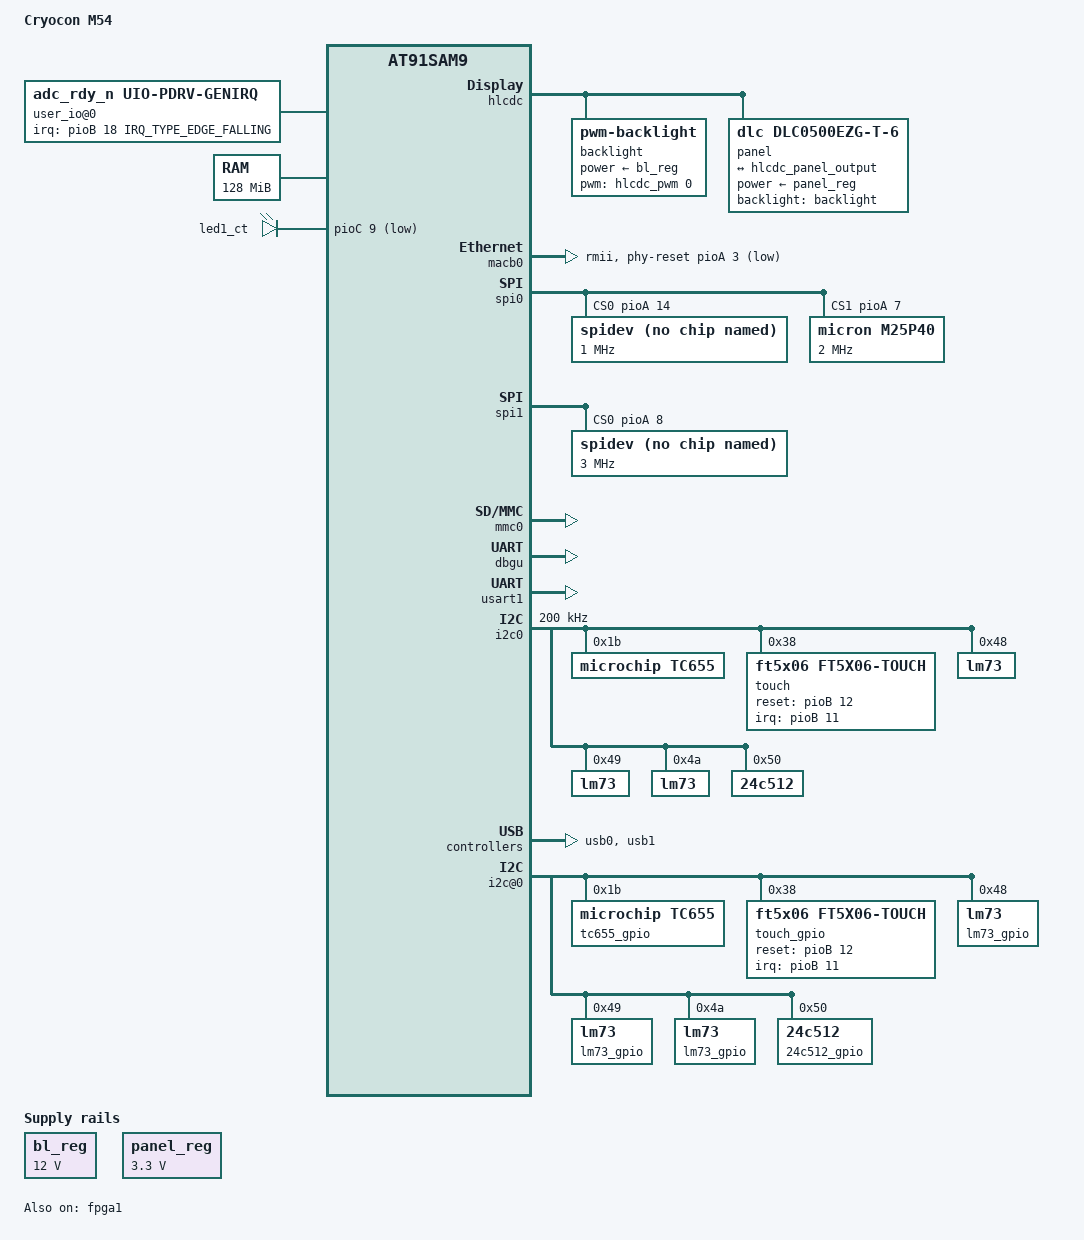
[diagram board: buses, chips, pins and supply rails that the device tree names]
/*
 * m54.dts - Device Tree file for Cryocon M54 cryogenic temperature controller
 *
 *  Copyright (C) 2016 Cryogenic Control Systems, Inc.
 *                2012 Atmel,
 *                2012 Nicolas Ferre <nicolas.ferre@atmel.com>
 *
 * Licensed under GPLv2 or later.
 */
 
/dts-v1/;
#include "at91sam9g35.dtsi"

/ {
	model = "Cryocon M54";
	compatible = "atmel,at91sam9g35ek", "atmel,at91sam9x5ek", "atmel,at91sam9x5", "atmel,at91sam9";

    user_io@0 {
        compatible = "adc_rdy_n,uio-pdrv-genirq";
        status = "okay";
        interrupt-parent = <&pioB>;
        interrupts = <18 IRQ_TYPE_EDGE_FALLING 6>;
        pinctrl-names = "default";
        pinctrl-0 = <&pinctrl_user_io>;
    };

	memory {
		reg = <0x20000000 0x8000000>;
	};

	clocks {
		slow_xtal {
			clock-frequency = <32768>;
		};

		main_xtal {
			clock-frequency = <12000000>;
		};
	};

    aliases {
	serial1 = &usart1;
        spi0 = &spi0;
        spi1 = &spi1;
        fpga0 = &fpga0;
        fpga1 = &fpga1;
    };

	fpga0: xilinx-sscu@0 {
        compatible = "xilinx-sscu";
        status = "disabled";
        pinctrl-names = "default";
        pinctrl-0 = <&pinctrl_board_fpga0>;
        reg = <0x0 0>;
        gpios = <&pioA 13 0
                &pioD 16 0
                &pioD 17 0
                0 0 0
                &pioA 12 0>;
    };

    fpga1: xilinx-sscu@1 {
	    compatible = "xilinx-sscu";
        status = "okay";
        pinctrl-names = "default";
        pinctrl-0 = <&pinctrl_board_fpga1>;
        reg = <0x1 0>;
        gpios = <&pioA 23 0
                &pioC 1 0
                &pioC 2 0
                &pioA 2 0
                &pioA 22 0>;
    };

	ahb {
		apb {
			rtc@fffffeb0 {
				status = "okay";
			};

			hlcdc: hlcdc@f8038000 {
				status = "okay";
				
				hlcdc_pwm: hlcdc-pwm {
				    status = "okay";
				};
				
				backlight: backlight {
		            compatible = "pwm-backlight";
		            pwms = <&hlcdc_pwm 0 50000 0>;
		            brightness-levels = <0 4 8 16 32 64 128 255>;
		            default-brightness-level = <0>;
		            power-supply = <&bl_reg>;
		            status = "okay";
	            };

	            panel: panel {
		            compatible = "dlc,dlc0500ezg-t-6", "simple-panel";
		            backlight = <&backlight>;
		            power-supply = <&panel_reg>;
		            #address-cells = <1>;
		            #size-cells = <0>;
		            status = "okay";

		            port@0 {
			            #address-cells = <1>;
			            #size-cells = <0>;

			            panel_input: endpoint@0 {
				            reg = <0>;
				            remote-endpoint = <&hlcdc_panel_output>;
			            };
		            };
	            };
				hlcdc-display-controller {
					pinctrl-names = "default";
					pinctrl-0 = <&pinctrl_lcd_base &pinctrl_lcd_m24x_rgb565>;

					port@0 {
						hlcdc_panel_output: endpoint@0 {
							reg = <0>;
							remote-endpoint = <&panel_input>;
						};
					};
				};
			};

			macb0: ethernet@f802c000 {
				phy-mode = "rmii";
				status = "okay";
				phy-reset-gpios = <&pioA 3 0>; /* PA3 GPIO phy reset */
				pinctrl-0 = <&pinctrl_macb0_rmii>;
			};

			spi0: spi@f0000000 {
				status = "okay";
				cs-gpios = <&pioA 14 0>, <&pioA 7 0>, <0>, <0>;
				rt;
				spidev@0 {
				    compatible = "spidev";
				    spi-max-frequency = <1000000>;
				    reg = <0>;
				};
				m25p40@1 {
			        status = "okay";
					reg = <1>;
					#address-cells = <1>;
					#size-cells = <1>;
					compatible = "micron,m25p40";
					spi-max-frequency = <2000000>;
					mode = <0>;
				};
			};

			spi1: spi@f0004000 {
				status = "okay";
				cs-gpios = <&pioA 8 0>, <&pioA 0 0>, <0>, <0>;
				rt;
				spidev@0 {
				    compatible = "spidev";
				    spi-max-frequency = <3000000>;
				    reg = <0>;
				};
				m25p40@1 {
				    status = "disabled";
					reg = <1>;
					#address-cells = <1>;
					#size-cells = <1>;
					compatible = "micron,m25p40";
					spi-max-frequency = <1000000>;
					mode = <0>;
				};
			};

			mmc0: mmc@f0008000 {
				pinctrl-0 = <
					&pinctrl_mmc0_slot0_clk_cmd_dat0
					&pinctrl_mmc0_slot0_dat1_3>;
				status = "okay";
				slot@0 {
					reg = <0>;
					bus-width = <4>;
					cd-gpios = <0>;
					non-removable;
				};
			};
			
			mmc1: mmc@f000c000 {
				status = "disabled";
			};

			dbgu: serial@fffff200 {
				status = "okay";
			};

			usart1: serial@f8020000 {
				status = "okay";
			};

			i2c0: i2c@f8010000 {
				status = "okay";
				clock-frequency = <200000>;
				tc655: tc655@1b {
					compatible = "microchip,tc655";
					reg = <0x1b>;
					status = "okay";
				};
				touch: ft5316@38 {
					compatible = "ft5x06,ft5x06-touch";
		            reg = <0x38>;
		            pinctrl-names = "default";
		            pinctrl-0 = <&ft5316_pins>;
		            interrupt-parent = <&pioB>;
		            interrupts = <11 IRQ_TYPE_EDGE_FALLING>;
		            reset-gpios = <&pioB 12 0>;
					status = "okay";
				};
				lm73@48 {
					compatible = "lm73";
					reg = <0x48>;
					status = "okay";
				};
				lm73@49 {
					compatible = "lm73";
					reg = <0x49>;
					status = "okay";
				};
				lm73@4a {
					compatible = "lm73";
					reg = <0x4a>;
					status = "okay";
				};
				24c512@50 {
					compatible = "24c512";
					reg = <0x50>;
					pagesize = <128>;
					status = "okay";
				};
			};

			pinctrl@fffff400 {
				touch {
					ft5316_pins: touch-board {
				        atmel,pins =
				            <AT91_PIOC 31 AT91_PERIPH_A AT91_PINCTRL_PULL_UP 
				             AT91_PIOB 11 AT91_PERIPH_GPIO AT91_PINCTRL_PULL_UP>;
					};
				};
				fpga0 {
				    pinctrl_board_fpga0: fpga0-board {
				        atmel,pins =
				            <AT91_PIOA 13 AT91_PERIPH_GPIO AT91_PINCTRL_NONE 
				             AT91_PIOD 16 AT91_PERIPH_GPIO AT91_PINCTRL_NONE 
				             AT91_PIOD 17 AT91_PERIPH_GPIO AT91_PINCTRL_NONE 
				             AT91_PIOA 12 AT91_PERIPH_GPIO AT91_PINCTRL_NONE>;
				     };
				};


				mmc0 {
					pinctrl_board_mmc0: mmc0-board {
						atmel,pins =
							<AT91_PIOD 15 AT91_PERIPH_GPIO AT91_PINCTRL_PULL_UP_DEGLITCH>;	/* PD15 gpio CD pin pull up and deglitch */
					};
				};

				fpga1 {
				    pinctrl_board_fpga1: fpga1-board {
				        atmel,pins =
				            <AT91_PIOA 23 AT91_PERIPH_GPIO AT91_PINCTRL_NONE 
				             AT91_PIOC  1 AT91_PERIPH_GPIO AT91_PINCTRL_NONE 
				             AT91_PIOC  2 AT91_PERIPH_GPIO AT91_PINCTRL_NONE 
				             AT91_PIOA  2 AT91_PERIPH_GPIO AT91_PINCTRL_NONE 
				             AT91_PIOA 22 AT91_PERIPH_GPIO AT91_PINCTRL_NONE>;
				     };
				};

				nand0 {
					pinctrl_nand0_m18: nand0_m18 {
						atmel,pins =
							<3 14 0x0 0x1>;	/* PD14 WP# pull up */
					};
				};

				user_io {
				    pinctrl_user_io: user_io0 {
				        atmel,pins = <1 18 0x0 0x0>;
				    };
				};
			};

			watchdog@fffffe40 {
				status = "okay";
			};

			ssc0: ssc@f0010000 {
				status = "disabled";
			};
		};

		usb0: ohci@00600000 {
			status = "okay";
			num-ports = <3>;
			atmel,vbus-gpio = <0 /* &pioD 18 GPIO_ACTIVE_LOW *//* Activate to have access to port A */
					   &pioD 19 GPIO_ACTIVE_HIGH
					   &pioD 20 GPIO_ACTIVE_HIGH
					  >;
		};

		usb1: ehci@00700000 {
			status = "okay";
		};
	};

	i2c@0 {
		status = "okay";
		tc655_gpio: tc655@1b {
			compatible = "microchip,tc655";
			reg = <0x1b>;
			status = "okay";
		};
		touch_gpio: ft5316@38 {
			compatible = "ft5x06,ft5x06-touch";
			reg = <0x38>;
			pinctrl-names = "default";
			pinctrl-0 = <&ft5316_pins>;
			interrupt-parent = <&pioB>;
			interrupts = <11 IRQ_TYPE_EDGE_FALLING>;
			reset-gpios = <&pioB 12 0>;
			status = "okay";
		};
		lm73_gpio@48 {
			compatible = "lm73";
			reg = <0x48>;
			status = "okay";
		};
		lm73_gpio@49 {
			compatible = "lm73";
			reg = <0x49>;
			status = "okay";
		};
		lm73_gpio@4a {
			compatible = "lm73";
			reg = <0x4a>;
			status = "okay";
		};
		24c512_gpio@50 {
			compatible = "24c512";
			reg = <0x50>;
			pagesize = <128>;
		};
	};

	leds {
		compatible = "gpio-leds";

		heartbeat {
			label = "led1_ct";
			gpios = <&pioC 9 1>;
			linux,default-trigger = "heartbeat";
		};
		
		adc {
			label = "adc";
			gpios = <&pioA 0 GPIO_ACTIVE_HIGH>;
			linux,default-trigger = "default-on";
			default-state = "on";
			status = "disabled";
		};
	};

	bl_reg: backlight_regulator {
		compatible = "regulator-fixed";
		regulator-name = "backlight-power-supply";
		regulator-min-microvolt = <12000000>;
		regulator-max-microvolt = <12000000>;
		status = "okay";
	};

	panel_reg: panel_regulator {
		compatible = "regulator-fixed";
		regulator-name = "panel-power-supply";
		regulator-min-microvolt = <3300000>;
		regulator-max-microvolt = <3300000>;
		status = "okay";
	};
};
